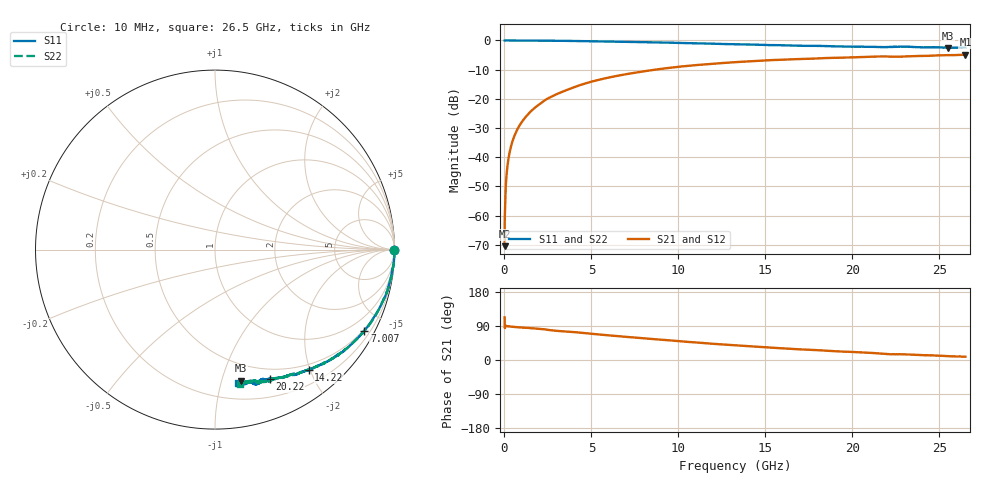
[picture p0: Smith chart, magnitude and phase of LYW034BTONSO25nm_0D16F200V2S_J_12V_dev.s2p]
!Keysight Technologies,N5222B,MY61253708,A.15.00.15
!Date: Wednesday, June 19, 2024 08:43:04
!Correction: S11(C  2-Port  )
!S21(C  2-Port  )
!S12(C  2-Port  )
!S22(C  2-Port  )
!S2P File: Measurements: S11, S21, S12, S22:
# Hz S  RI  R 50
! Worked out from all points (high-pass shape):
!   2651 points, 10 MHz to 26.5 GHz, reference 50 ohm
!   highest |S21| = -4.88 dB at 26.5 GHz (marker M1); lowest = -70.5 dB at 10 MHz (marker M2)
!   |S21| within 3 dB of the highest: 12.17 GHz to end of sweep
!   lowest |S11| = -2.6 dB at 25.5 GHz (marker M3), VSWR 6.84, Z = 17.6 - j57.8 ohm
!   |S11| at or under -10 dB: nowhere
!   |S22| runs from -2.5 to 0.0 dB; largest |S21 - S12| = 0.0086
!   S11 on the Smith chart (normalised r, x): 10 MHz: open; 7.007 GHz: 0.45, -3.90; 14.22 GHz: 0.41, -1.98; 20.22 GHz: 0.39, -1.44; 26.5 GHz: 0.33, -1.13
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1e7  0.9987 -0.00222  -0.000114 0.000276  -0.00014 0.000721  0.9988 -0.000462
7.997358e7  0.9998 -0.00621  1.92e-05 0.00331  1.28e-05 0.00324  0.9994 -0.00581
1.499472e8  0.9998 -0.0122  7.82e-05 0.00611  7.74e-05 0.00611  0.9994 -0.0115
1.899321e8  0.9998 -0.0144  0.00016 0.00772  0.000131 0.00773  0.9997 -0.0136
2.499094e8  0.9992 -0.0194  0.000221 0.0101  0.000221 0.0102  0.9991 -0.0185
3.498717e8  0.9991 -0.0268  0.000452 0.0142  0.000444 0.0142  0.9991 -0.0259
4.798226e8  0.9984 -0.0368  0.00077 0.0194  0.00074 0.0195  0.9982 -0.0355
8.196943e8  0.9969 -0.0618  0.0022 0.0329  0.00219 0.033  0.9969 -0.0605
1.449457e9  0.9878 -0.1092  0.00568 0.0581  0.00567 0.0581  0.9904 -0.1053
2.329125e9  0.9757 -0.1694  0.0151 0.0934  0.0152 0.0935  0.9772 -0.1695
3.198796e9  0.96 -0.2297  0.0302 0.1238  0.0303 0.124  0.96 -0.2287
4.428332e9  0.9251 -0.3086  0.0545 0.1665  0.0545 0.1669  0.927 -0.3054
7.007358e9  0.8328 -0.451  0.1281 0.2316  0.1288 0.2319  0.8354 -0.4503
8.846664e9  0.755 -0.5314  0.188 0.2607  0.1888 0.261  0.7574 -0.5293
1.3255e10  0.5611 -0.6528  0.3307 0.2661  0.3323 0.2659  0.5653 -0.6517
1.422463e10  0.5218 -0.6708  0.357 0.259  0.3584 0.2586  0.5278 -0.6663
1.767333e10  0.3847 -0.7094  0.4361 0.2181  0.439 0.2167  0.3968 -0.7081
2.022237e10  0.3037 -0.7202  0.4836 0.1814  0.4845 0.1796  0.3172 -0.7222
2.209166e10  0.2568 -0.7248  0.5103 0.1417  0.5112 0.1397  0.2518 -0.7328
2.308129e10  0.2274 -0.7515  0.5145 0.1354  0.5147 0.1356  0.229 -0.734
2.550038e10  0.1456 -0.7305  0.551 0.0968  0.552 0.0982  0.166 -0.738
2.65e10  0.1288 -0.7447  0.5638 0.0852  0.562 0.0825  0.1408 -0.7462
